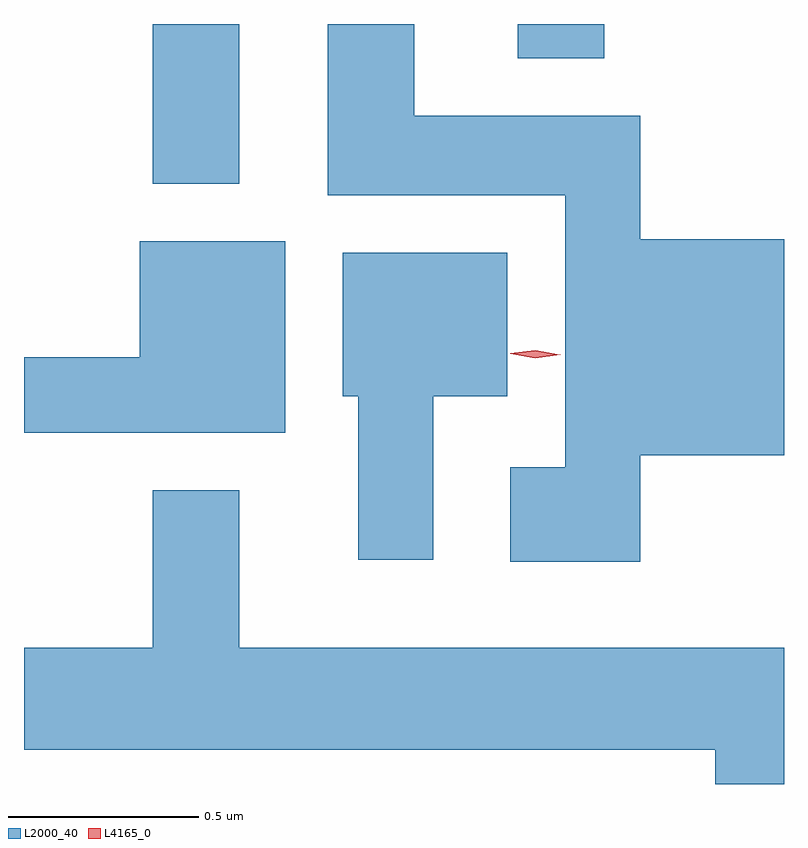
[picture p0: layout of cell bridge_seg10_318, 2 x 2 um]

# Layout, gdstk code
import gdstk
lib = gdstk.Library(unit=1e-6, precision=1e-09)
def R(c, l, rs):  # rectangles x0, y0, x1, y1
    for r in rs: c.add(gdstk.rectangle(r[:2], r[2:], *l))
def P(c, l, *ps):  # polygons
    for p in ps: c.add(gdstk.Polygon(p, *l))
L2000_40 = (2000, 40)
L4165_0 = (4165, 0)

bridge_seg10_318 = lib.new_cell('bridge_seg10_318')
R(bridge_seg10_318, L2000_40, [(1451.121,2166.466,1451.349,2166.886), (1452.081,2166.796,1452.309,2166.886)])
P(bridge_seg10_318, L2000_40, [(1452.404,2165.751),(1452.782,2165.751),(1452.782,2166.319),(1452.404,2166.319),(1452.404,2166.644),(1451.809,2166.644),(1451.809,2166.886),(1451.581,2166.886),(1451.581,2166.436),(1452.206,2166.436),(1452.206,2165.719),(1452.061,2165.719),(1452.061,2165.471),(1452.404,2165.471)],
  [(1451.469,2166.314),(1451.086,2166.314),(1451.086,2166.009),(1450.782,2166.009),(1450.782,2165.811),(1451.469,2165.811)],
  [(1451.859,2165.906),(1452.054,2165.906),(1452.054,2166.284),(1451.621,2166.284),(1451.621,2165.906),(1451.661,2165.906),(1451.661,2165.476),(1451.859,2165.476)],
  [(1452.782,2165.244),(1451.349,2165.244),(1451.349,2165.659),(1451.121,2165.659),(1451.121,2165.244),(1450.782,2165.244),(1450.782,2164.976),(1452.601,2164.976),(1452.601,2164.886),(1452.782,2164.886)])
P(bridge_seg10_318, L4165_0, [(1452.127,2166.007),(1452.062,2166.018),(1452.061,2166.018),(1452.062,2166.019),(1452.128,2166.027),(1452.193,2166.016),(1452.194,2166.016),(1452.193,2166.015)])

lib.write_gds('bridge_seg10_318.gds')
